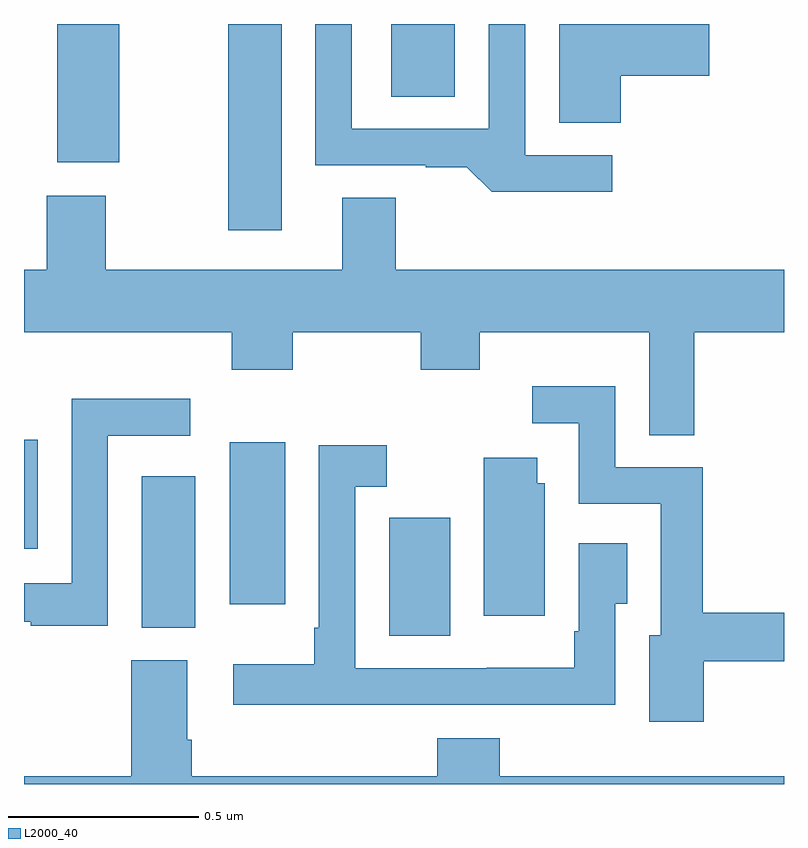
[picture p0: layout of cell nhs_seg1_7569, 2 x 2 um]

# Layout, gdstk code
import gdstk
lib = gdstk.Library(unit=1e-6, precision=1e-09)
def R(c, l, rs):  # rectangles x0, y0, x1, y1
    for r in rs: c.add(gdstk.rectangle(r[:2], r[2:], *l))
def P(c, l, *ps):  # polygons
    for p in ps: c.add(gdstk.Polygon(p, *l))
L2000_40 = (2000, 40)

nhs_seg1_7569 = lib.new_cell('nhs_seg1_7569')
R(nhs_seg1_7569, L2000_40, [(205.961,561.589,206.122,561.9), (205.31,561.61,205.45,562.009), (205.541,561.672,205.687,562.099), (205,561.818,205.036,562.105), (205.537,562.656,205.678,563.199), (205.088,562.835,205.251,563.199), (205.967,563.008,206.134,563.199)])
P(nhs_seg1_7569, L2000_40, [(206.548,562.854),(206.319,562.854),(206.319,563.199),(206.223,563.199),(206.223,562.923),(205.863,562.923),(205.863,563.199),(205.767,563.199),(205.767,562.827),(206.057,562.827),(206.057,562.822),(206.165,562.822),(206.231,562.757),(206.548,562.757)],
  [(206.57,563.063),(206.803,563.063),(206.803,563.199),(206.408,563.199),(206.408,562.939),(206.57,562.939)],
  [(206.764,562.388),(207,562.388),(207,562.552),(205.978,562.552),(205.978,562.742),(205.838,562.742),(205.838,562.552),(205.215,562.552),(205.215,562.747),(205.06,562.747),(205.06,562.552),(205,562.552),(205,562.388),(205.547,562.388),(205.547,562.289),(205.707,562.289),(205.707,562.388),(206.044,562.388),(206.044,562.289),(206.199,562.289),(206.199,562.388),(206.645,562.388),(206.645,562.117),(206.764,562.117)],
  [(206.789,561.522),(207,561.522),(207,561.65),(206.786,561.65),(206.786,562.032),(206.556,562.032),(206.556,562.246),(206.337,562.246),(206.337,562.149),(206.46,562.149),(206.46,561.936),(206.675,561.936),(206.675,561.591),(206.645,561.591),(206.645,561.363),(206.789,561.363)],
  [(205.221,562.116),(205.438,562.116),(205.438,562.213),(205.125,562.213),(205.125,561.727),(205,561.727),(205,561.626),(205.018,561.626),(205.018,561.616),(205.221,561.616)],
  [(205.969,561.408),(206.335,561.408),(206.335,561.407),(206.556,561.407),(206.556,561.673),(206.587,561.673),(206.587,561.832),(206.46,561.832),(206.46,561.601),(206.448,561.601),(206.448,561.505),(206.218,561.505),(206.218,561.504),(205.872,561.504),(205.872,561.981),(205.954,561.981),(205.954,562.09),(205.776,562.09),(205.776,561.61),(205.764,561.61),(205.764,561.514),(205.551,561.514),(205.551,561.407),(205.969,561.407)],
  [(206.371,561.99),(206.35,561.99),(206.35,562.057),(206.21,562.057),(206.21,561.642),(206.371,561.642)],
  [(207,561.22),(206.252,561.22),(206.252,561.319),(206.087,561.319),(206.087,561.22),(205.442,561.22),(205.442,561.316),(205.429,561.316),(205.429,561.525),(205.282,561.525),(205.282,561.22),(205,561.22),(205,561.199),(207,561.199)])

lib.write_gds('nhs_seg1_7569.gds')
